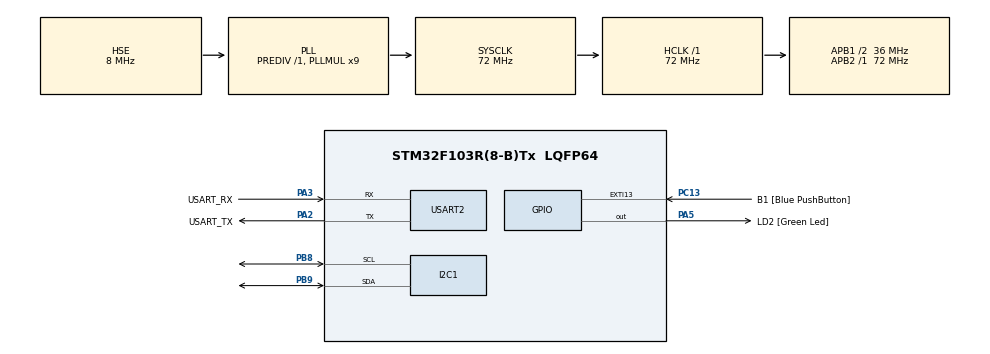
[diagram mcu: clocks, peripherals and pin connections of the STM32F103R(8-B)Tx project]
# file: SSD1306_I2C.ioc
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I2C1.I2C_Mode=I2C_Fast
Mcu.Family=STM32F1
Mcu.Name=STM32F103R(8-B)Tx
Mcu.Package=LQFP64
NVIC.EXTI15_10_IRQn=true\:0\:0\:false\:false\:true\:true\:true\:true
NVIC.I2C1_EV_IRQn=true\:0\:0\:false\:false\:true\:true\:true\:true
NVIC.PriorityGroup=NVIC_PRIORITYGROUP_4
PA13.GPIO_Label=TMS
PA13.Mode=Serial_Wire
PA13.Signal=SYS_JTMS-SWDIO
PA14.GPIO_Label=TCK
PA14.Mode=Serial_Wire
PA14.Signal=SYS_JTCK-SWCLK
PA2.GPIO_Label=USART_TX
PA2.GPIO_Mode=GPIO_MODE_AF_PP
PA2.GPIO_PuPd=GPIO_NOPULL
PA2.GPIO_Speed=GPIO_SPEED_FREQ_LOW
PA2.Mode=Asynchronous
PA2.Signal=USART2_TX
PA3.GPIO_Label=USART_RX
PA3.GPIO_Mode=GPIO_MODE_AF_PP
PA3.GPIO_PuPd=GPIO_NOPULL
PA3.GPIO_Speed=GPIO_SPEED_FREQ_LOW
PA3.Mode=Asynchronous
PA3.Signal=USART2_RX
PA5.GPIO_Label=LD2 [Green Led]
PA5.GPIO_ModeDefaultOutputPP=GPIO_MODE_OUTPUT_PP
PA5.GPIO_PuPd=GPIO_NOPULL
PA5.GPIO_Speed=GPIO_SPEED_FREQ_LOW
PA5.Signal=GPIO_Output
PB3.GPIO_Label=SWO
PB3.Signal=SYS_JTDO-TRACESWO
PB8.Mode=I2C
PB8.Signal=I2C1_SCL
PB9.Mode=I2C
PB9.Signal=I2C1_SDA
PC13-TAMPER-RTC.GPIO_Label=B1 [Blue PushButton]
PC13-TAMPER-RTC.GPIO_PuPd=GPIO_NOPULL
PC13-TAMPER-RTC.Signal=GPXTI13
PC14-OSC32_IN.Mode=LSE-External-Oscillator
PC14-OSC32_IN.Signal=RCC_OSC32_IN
PC15-OSC32_OUT.Mode=LSE-External-Oscillator
PC15-OSC32_OUT.Signal=RCC_OSC32_OUT
PD0-OSC_IN.Mode=HSE-External-Clock-Source
PD0-OSC_IN.Signal=RCC_OSC_IN
PD1-OSC_OUT.Mode=HSE-External-Clock-Source
PD1-OSC_OUT.Signal=RCC_OSC_OUT
ProjectManager.HeapSize=0x200
ProjectManager.StackSize=0x400
ProjectManager.TargetToolchain=STM32CubeIDE
RCC.AHBFreq_Value=72000000
RCC.APB1CLKDivider=RCC_HCLK_DIV2
RCC.APB1Freq_Value=36000000
RCC.APB1TimFreq_Value=72000000
RCC.APB2Freq_Value=72000000
RCC.APB2TimFreq_Value=72000000
RCC.HCLKFreq_Value=72000000
RCC.PLLMUL=RCC_PLL_MUL9
RCC.PLLSourceVirtual=RCC_PLLSOURCE_HSE
RCC.RTCClockSelection=RCC_RTCCLKSOURCE_LSE
RCC.SYSCLKFreq_VALUE=72000000
RCC.SYSCLKSource=RCC_SYSCLKSOURCE_PLLCLK
RCC.USBFreq_Value=72000000
USART2.VirtualMode=VM_ASYNC
board=NUCLEO-F103RB

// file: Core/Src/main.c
/* USER CODE BEGIN Header */
/**
  ******************************************************************************
  * @file           : main.c
  * @brief          : Main program body
  ******************************************************************************
  * @attention
  *
  * Copyright (c) 2023 STMicroelectronics.
  * All rights reserved.
  *
  * This software is licensed under terms that can be found in the LICENSE file
  * in the root directory of this software component.
  * If no LICENSE file comes with this software, it is provided AS-IS.
  *
  ******************************************************************************
  */
/* USER CODE END Header */
#include "main.h"

/* USER CODE BEGIN Includes */
#include "fonts.h"
#include "SSD1306.h"
/* USER CODE END Includes */

/* USER CODE BEGIN PD */
#define REM_HEIGHT 32
#define REM_WIDTH 32
/* USER CODE END PD */

I2C_HandleTypeDef hi2c1;

UART_HandleTypeDef huart2;

/* USER CODE BEGIN PV */
SSD1306_HandleTypeDef hssd;
SSD1306_FontTypeDef hfont;

uint8_t REM[] = {
  0x00, 0x00, 0x00, 0x00,
  0x00, 0x00, 0x00, 0x00,
  0x00, 0x00, 0x00, 0x00,
  0x00, 0x00, 0x00, 0x00,
  0x00, 0x00, 0x00, 0x00,
  0x00, 0x03, 0x80, 0x00,
  0x00, 0x3f, 0xf0, 0x00,
  0x00, 0x7f, 0xf8, 0x00,
  0x00, 0x7f, 0xfc, 0x00,
  0x00, 0x7f, 0xfc, 0x00,
  0x00, 0x7f, 0xfc, 0x00,
  0x01, 0x7f, 0xfc, 0x00,
  0x01, 0x7f, 0xff, 0x00,
  0x00, 0x23, 0x8a, 0x00,
  0x00, 0x1b, 0xf4, 0x00,
  0x00, 0xbb, 0xba, 0x00,
  0x00, 0xf0, 0x1e, 0x00,
  0x00, 0xe6, 0xde, 0x00,
  0x00, 0x6f, 0xac, 0x00,
  0x00, 0x6f, 0xc8, 0x00,
  0x00, 0x37, 0xd8, 0x00,
  0x00, 0x0e, 0xe0, 0x00,
  0x00, 0x3e, 0xf8, 0x00,
  0x00, 0x7e, 0xf8, 0x00,
  0x00, 0x7f, 0xfc, 0x00,
  0x00, 0x1f, 0xe8, 0x00,
  0x00, 0x03, 0x80, 0x00,
  0x00, 0x00, 0x00, 0x00,
  0x00, 0x00, 0x00, 0x00,
  0x00, 0x00, 0x00, 0x00,
  0x00, 0x00, 0x00, 0x00,
  0x00, 0x00, 0x00, 0x00
};
/* USER CODE END PV */

void SystemClock_Config(void);
static void MX_GPIO_Init(void);
static void MX_USART2_UART_Init(void);
static void MX_I2C1_Init(void);

int main(void)
{
  /* USER CODE BEGIN 1 */
	hfont.font = SSD1306_Font6x8;
	hfont.height = 8;
	hfont.width = 6;
  /* USER CODE END 1 */

  /* MCU Configuration--------------------------------------------------------*/

  /* Reset of all peripherals, Initializes the Flash interface and the Systick. */
  HAL_Init();

  /* Configure the system clock */
  SystemClock_Config();

  /* Initialize all configured peripherals */
  MX_GPIO_Init();
  MX_USART2_UART_Init();
  MX_I2C1_Init();
  /* USER CODE BEGIN 2 */

  /* Initialise SSD1306 */
  SSD1306_Init(&hi2c1, &hssd, SSD1306_128_32_ADDR);

  /* Call Display to write empty buffer to display */
  SSD1306_Display(&hssd);

  /* Draw Bitmap */
  SSD1306_DrawBitmap(&hssd, 0, 0, REM, REM_WIDTH, REM_HEIGHT, SSD1306_COLOR_BLACK);

  /* Draw "Hello, world!" */
  SSD1306_DrawString(&hssd, &hfont, "Hello, world!", 32, 16, SSD1306_COLOR_BLACK);

  /* Call Display to write changes to display */
  SSD1306_Display(&hssd);

  /* USER CODE END 2 */

  /* Infinite loop */
  while (1)
  {

  }
}

void SystemClock_Config(void)
{
  RCC_OscInitTypeDef RCC_OscInitStruct = {0};
  RCC_ClkInitTypeDef RCC_ClkInitStruct = {0};

  /** Initializes the RCC Oscillators according to the specified parameters
  * in the RCC_OscInitTypeDef structure.
  */
  RCC_OscInitStruct.OscillatorType = RCC_OSCILLATORTYPE_HSE;
  RCC_OscInitStruct.HSEState = RCC_HSE_BYPASS;
  RCC_OscInitStruct.HSEPredivValue = RCC_HSE_PREDIV_DIV1;
  RCC_OscInitStruct.HSIState = RCC_HSI_ON;
  RCC_OscInitStruct.PLL.PLLState = RCC_PLL_ON;
  RCC_OscInitStruct.PLL.PLLSource = RCC_PLLSOURCE_HSE;
  RCC_OscInitStruct.PLL.PLLMUL = RCC_PLL_MUL9;
  if (HAL_RCC_OscConfig(&RCC_OscInitStruct) != HAL_OK)
  {
    Error_Handler();
  }

  /** Initializes the CPU, AHB and APB buses clocks
  */
  RCC_ClkInitStruct.ClockType = RCC_CLOCKTYPE_HCLK|RCC_CLOCKTYPE_SYSCLK
                              |RCC_CLOCKTYPE_PCLK1|RCC_CLOCKTYPE_PCLK2;
  RCC_ClkInitStruct.SYSCLKSource = RCC_SYSCLKSOURCE_PLLCLK;
  RCC_ClkInitStruct.AHBCLKDivider = RCC_SYSCLK_DIV1;
  RCC_ClkInitStruct.APB1CLKDivider = RCC_HCLK_DIV2;
  RCC_ClkInitStruct.APB2CLKDivider = RCC_HCLK_DIV1;

  if (HAL_RCC_ClockConfig(&RCC_ClkInitStruct, FLASH_LATENCY_2) != HAL_OK)
  {
    Error_Handler();
  }
}

static void MX_I2C1_Init(void)
{

  hi2c1.Instance = I2C1;
  hi2c1.Init.ClockSpeed = 400000;
  hi2c1.Init.DutyCycle = I2C_DUTYCYCLE_2;
  hi2c1.Init.OwnAddress1 = 0;
  hi2c1.Init.AddressingMode = I2C_ADDRESSINGMODE_7BIT;
  hi2c1.Init.DualAddressMode = I2C_DUALADDRESS_DISABLE;
  hi2c1.Init.OwnAddress2 = 0;
  hi2c1.Init.GeneralCallMode = I2C_GENERALCALL_DISABLE;
  hi2c1.Init.NoStretchMode = I2C_NOSTRETCH_DISABLE;
  if (HAL_I2C_Init(&hi2c1) != HAL_OK)
  {
    Error_Handler();
  }

}

static void MX_USART2_UART_Init(void)
{

  huart2.Instance = USART2;
  huart2.Init.BaudRate = 115200;
  huart2.Init.WordLength = UART_WORDLENGTH_8B;
  huart2.Init.StopBits = UART_STOPBITS_1;
  huart2.Init.Parity = UART_PARITY_NONE;
  huart2.Init.Mode = UART_MODE_TX_RX;
  huart2.Init.HwFlowCtl = UART_HWCONTROL_NONE;
  huart2.Init.OverSampling = UART_OVERSAMPLING_16;
  if (HAL_UART_Init(&huart2) != HAL_OK)
  {
    Error_Handler();
  }

}

static void MX_GPIO_Init(void)
{
  GPIO_InitTypeDef GPIO_InitStruct = {0};

  /* GPIO Ports Clock Enable */
  __HAL_RCC_GPIOC_CLK_ENABLE();
  __HAL_RCC_GPIOD_CLK_ENABLE();
  __HAL_RCC_GPIOA_CLK_ENABLE();
  __HAL_RCC_GPIOB_CLK_ENABLE();

  /*Configure GPIO pin Output Level */
  HAL_GPIO_WritePin(LD2_GPIO_Port, LD2_Pin, GPIO_PIN_RESET);

  /*Configure GPIO pin : B1_Pin */
  GPIO_InitStruct.Pin = B1_Pin;
  GPIO_InitStruct.Mode = GPIO_MODE_IT_RISING;
  GPIO_InitStruct.Pull = GPIO_NOPULL;
  HAL_GPIO_Init(B1_GPIO_Port, &GPIO_InitStruct);

  /*Configure GPIO pin : LD2_Pin */
  GPIO_InitStruct.Pin = LD2_Pin;
  GPIO_InitStruct.Mode = GPIO_MODE_OUTPUT_PP;
  GPIO_InitStruct.Pull = GPIO_NOPULL;
  GPIO_InitStruct.Speed = GPIO_SPEED_FREQ_LOW;
  HAL_GPIO_Init(LD2_GPIO_Port, &GPIO_InitStruct);

  /* EXTI interrupt init*/
  HAL_NVIC_SetPriority(EXTI15_10_IRQn, 0, 0);
  HAL_NVIC_EnableIRQ(EXTI15_10_IRQn);

}

void Error_Handler(void)
{
  __disable_irq();
  while (1)
  {
  }
}
